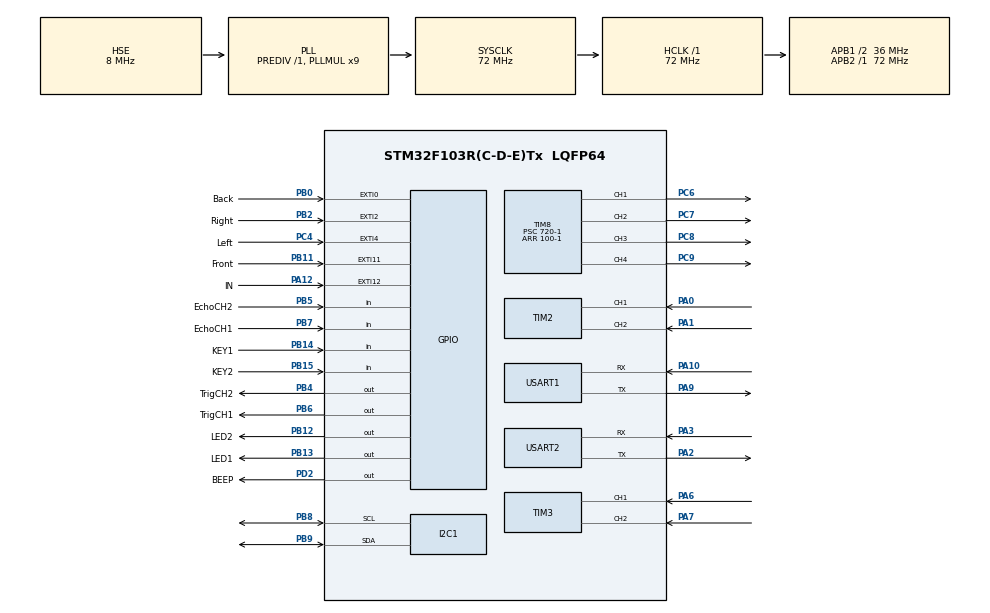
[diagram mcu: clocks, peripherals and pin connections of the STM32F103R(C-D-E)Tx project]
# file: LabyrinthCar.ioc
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Dma.Request0=USART1_RX
Dma.Request1=USART1_TX
Dma.Request2=USART2_RX
Dma.Request3=USART2_TX
Dma.USART1_RX.0.Direction=DMA_PERIPH_TO_MEMORY
Dma.USART1_RX.0.Instance=DMA1_Channel5
Dma.USART1_RX.0.MemDataAlignment=DMA_MDATAALIGN_BYTE
Dma.USART1_RX.0.MemInc=DMA_MINC_ENABLE
Dma.USART1_RX.0.Mode=DMA_NORMAL
Dma.USART1_RX.0.PeriphDataAlignment=DMA_PDATAALIGN_BYTE
Dma.USART1_RX.0.PeriphInc=DMA_PINC_DISABLE
Dma.USART1_RX.0.Priority=DMA_PRIORITY_LOW
Dma.USART1_TX.1.Direction=DMA_MEMORY_TO_PERIPH
Dma.USART1_TX.1.Instance=DMA1_Channel4
Dma.USART1_TX.1.MemDataAlignment=DMA_MDATAALIGN_BYTE
Dma.USART1_TX.1.MemInc=DMA_MINC_ENABLE
Dma.USART1_TX.1.Mode=DMA_NORMAL
Dma.USART1_TX.1.PeriphDataAlignment=DMA_PDATAALIGN_BYTE
Dma.USART1_TX.1.PeriphInc=DMA_PINC_DISABLE
Dma.USART1_TX.1.Priority=DMA_PRIORITY_LOW
Dma.USART2_RX.2.Direction=DMA_PERIPH_TO_MEMORY
Dma.USART2_RX.2.Instance=DMA1_Channel6
Dma.USART2_RX.2.MemDataAlignment=DMA_MDATAALIGN_BYTE
Dma.USART2_RX.2.MemInc=DMA_MINC_ENABLE
Dma.USART2_RX.2.Mode=DMA_NORMAL
Dma.USART2_RX.2.PeriphDataAlignment=DMA_PDATAALIGN_BYTE
Dma.USART2_RX.2.PeriphInc=DMA_PINC_DISABLE
Dma.USART2_RX.2.Priority=DMA_PRIORITY_LOW
Dma.USART2_TX.3.Direction=DMA_MEMORY_TO_PERIPH
Dma.USART2_TX.3.Instance=DMA1_Channel7
Dma.USART2_TX.3.MemDataAlignment=DMA_MDATAALIGN_BYTE
Dma.USART2_TX.3.MemInc=DMA_MINC_ENABLE
Dma.USART2_TX.3.Mode=DMA_NORMAL
Dma.USART2_TX.3.PeriphDataAlignment=DMA_PDATAALIGN_BYTE
Dma.USART2_TX.3.PeriphInc=DMA_PINC_DISABLE
Dma.USART2_TX.3.Priority=DMA_PRIORITY_LOW
Mcu.Family=STM32F1
Mcu.Name=STM32F103R(C-D-E)Tx
Mcu.Package=LQFP64
NVIC.DMA1_Channel4_IRQn=true\:0\:0\:false\:false\:true\:false\:true\:true
NVIC.DMA1_Channel5_IRQn=true\:0\:0\:false\:false\:true\:false\:true\:true
NVIC.DMA1_Channel6_IRQn=true\:0\:0\:false\:false\:true\:false\:true\:true
NVIC.DMA1_Channel7_IRQn=true\:0\:0\:false\:false\:true\:false\:true\:true
NVIC.EXTI0_IRQn=true\:2\:0\:true\:false\:true\:true\:true\:true
NVIC.EXTI15_10_IRQn=true\:2\:0\:true\:false\:true\:true\:true\:true
NVIC.EXTI2_IRQn=true\:2\:0\:true\:false\:true\:true\:true\:true
NVIC.EXTI4_IRQn=true\:2\:0\:true\:false\:true\:true\:true\:true
NVIC.PriorityGroup=NVIC_PRIORITYGROUP_4
NVIC.TIM2_IRQn=true\:0\:0\:false\:false\:true\:true\:true\:true
NVIC.TIM3_IRQn=true\:0\:0\:true\:false\:true\:true\:true\:true
NVIC.TIM6_IRQn=true\:1\:0\:true\:false\:true\:true\:true\:true
NVIC.TIM7_IRQn=true\:0\:0\:false\:false\:true\:true\:true\:true
NVIC.USART1_IRQn=true\:0\:0\:false\:false\:true\:true\:true\:true
NVIC.USART2_IRQn=true\:0\:0\:false\:false\:true\:true\:true\:true
PA0-WKUP.Signal=S_TIM2_CH1_ETR
PA1.Signal=S_TIM2_CH2
PA10.Mode=Asynchronous
PA10.Signal=USART1_RX
PA12.GPIO_Label=IN
PA12.Signal=GPXTI12
PA13.Mode=Serial_Wire
PA13.Signal=SYS_JTMS-SWDIO
PA14.Mode=Serial_Wire
PA14.Signal=SYS_JTCK-SWCLK
PA2.Mode=Asynchronous
PA2.Signal=USART2_TX
PA3.Mode=Asynchronous
PA3.Signal=USART2_RX
PA6.Signal=S_TIM3_CH1
PA7.Signal=S_TIM3_CH2
PA9.Mode=Asynchronous
PA9.Signal=USART1_TX
PB0.GPIO_Label=Back
PB0.GPIO_ModeDefaultEXTI=GPIO_MODE_IT_FALLING
PB0.GPIO_PuPd=GPIO_PULLUP
PB0.Signal=GPXTI0
PB11.GPIO_Label=Front
PB11.GPIO_ModeDefaultEXTI=GPIO_MODE_IT_FALLING
PB11.GPIO_PuPd=GPIO_PULLUP
PB11.Signal=GPXTI11
PB12.GPIO_Label=LED2
PB12.GPIO_PuPd=GPIO_PULLUP
PB12.PinState=GPIO_PIN_SET
PB12.Signal=GPIO_Output
PB13.GPIO_Label=LED1
PB13.GPIO_PuPd=GPIO_PULLUP
PB13.PinState=GPIO_PIN_SET
PB13.Signal=GPIO_Output
PB14.GPIO_Label=KEY1
PB14.GPIO_PuPd=GPIO_PULLUP
PB14.Signal=GPIO_Input
PB15.GPIO_Label=KEY2
PB15.GPIO_PuPd=GPIO_PULLUP
PB15.Signal=GPIO_Input
PB2.GPIO_Label=Right
PB2.GPIO_ModeDefaultEXTI=GPIO_MODE_IT_FALLING
PB2.GPIO_PuPd=GPIO_PULLUP
PB2.Signal=GPXTI2
PB4.GPIO_Label=TrigCH2
PB4.Signal=GPIO_Output
PB5.GPIO_Label=EchoCH2
PB5.Signal=GPIO_Input
PB6.GPIO_Label=TrigCH1
PB6.Signal=GPIO_Output
PB7.GPIO_Label=EchoCH1
PB7.Signal=GPIO_Input
PB8.Mode=I2C
PB8.Signal=I2C1_SCL
PB9.Mode=I2C
PB9.Signal=I2C1_SDA
PC14-OSC32_IN.Mode=LSE-External-Oscillator
PC14-OSC32_IN.Signal=RCC_OSC32_IN
PC15-OSC32_OUT.Mode=LSE-External-Oscillator
PC15-OSC32_OUT.Signal=RCC_OSC32_OUT
PC4.GPIO_Label=Left
PC4.GPIO_ModeDefaultEXTI=GPIO_MODE_IT_FALLING
PC4.GPIO_PuPd=GPIO_PULLUP
PC4.Signal=GPXTI4
PC6.Signal=S_TIM8_CH1
PC7.Signal=S_TIM8_CH2
PC8.Signal=S_TIM8_CH3
PC9.Signal=S_TIM8_CH4
PD0-OSC_IN.Mode=HSE-External-Oscillator
PD0-OSC_IN.Signal=RCC_OSC_IN
PD1-OSC_OUT.Mode=HSE-External-Oscillator
PD1-OSC_OUT.Signal=RCC_OSC_OUT
PD2.GPIO_Label=BEEP
PD2.GPIO_ModeDefaultOutputPP=GPIO_MODE_OUTPUT_PP
PD2.GPIO_PuPd=GPIO_PULLDOWN
PD2.PinState=GPIO_PIN_RESET
PD2.Signal=GPIO_Output
ProjectManager.HeapSize=0x200
ProjectManager.StackSize=0x400
ProjectManager.TargetToolchain=STM32CubeIDE
RCC.AHBFreq_Value=72000000
RCC.APB1CLKDivider=RCC_HCLK_DIV2
RCC.APB1Freq_Value=36000000
RCC.APB1TimFreq_Value=72000000
RCC.APB2Freq_Value=72000000
RCC.APB2TimFreq_Value=72000000
RCC.HCLKFreq_Value=72000000
RCC.PLLMUL=RCC_PLL_MUL9
RCC.PLLSourceVirtual=RCC_PLLSOURCE_HSE
RCC.SYSCLKFreq_VALUE=72000000
RCC.SYSCLKSource=RCC_SYSCLKSOURCE_PLLCLK
RCC.USBFreq_Value=72000000
SH.S_TIM2_CH1_ETR.0=TIM2_CH1,Encoder_Interface
SH.S_TIM2_CH2.0=TIM2_CH2,Encoder_Interface
SH.S_TIM3_CH1.0=TIM3_CH1,Encoder_Interface
SH.S_TIM3_CH2.0=TIM3_CH2,Encoder_Interface
SH.S_TIM8_CH1.0=TIM8_CH1,PWM Generation1 CH1
SH.S_TIM8_CH2.0=TIM8_CH2,PWM Generation2 CH2
SH.S_TIM8_CH3.0=TIM8_CH3,PWM Generation3 CH3
SH.S_TIM8_CH4.0=TIM8_CH4,PWM Generation4 CH4
TIM6.Period=10000-1
TIM6.Prescaler=720-1
TIM7.Period=72-1
TIM7.Prescaler=10-1
TIM8.Channel-PWM\ Generation1\ CH1=TIM_CHANNEL_1
TIM8.Channel-PWM\ Generation2\ CH2=TIM_CHANNEL_2
TIM8.Channel-PWM\ Generation3\ CH3=TIM_CHANNEL_3
TIM8.Channel-PWM\ Generation4\ CH4=TIM_CHANNEL_4
TIM8.Period=100-1
TIM8.Prescaler=720-1
USART1.VirtualMode=VM_ASYNC
USART2.VirtualMode=VM_ASYNC
VP_TIM6_VS_ClockSourceINT.Mode=Enable_Timer
VP_TIM7_VS_ClockSourceINT.Mode=Enable_Timer
VP_TIM8_VS_ClockSourceINT.Mode=Internal
board=custom

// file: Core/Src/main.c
/* USER CODE BEGIN Header */
/**
  ******************************************************************************
  * @file           : main.c
  * @brief          : Main program body
  ******************************************************************************
  * @attention
  *
  * Copyright (c) 2023 STMicroelectronics.
  * All rights reserved.
  *
  * This software is licensed under terms that can be found in the LICENSE file
  * in the root directory of this software component.
  * If no LICENSE file comes with this software, it is provided AS-IS.
  *
  ******************************************************************************
  */
/* USER CODE END Header */
#include "main.h"
#include "dma.h"
#include "i2c.h"
#include "tim.h"
#include "usart.h"
#include "gpio.h"

/* USER CODE BEGIN Includes */
#include "Serial.h"
#include "Basic.h"
#include "OLED.h"
#include "Motor.h"
#include "HCSR04.h"
#include "Control.h"
#include "mpu6050.h"
#include "inv_mpu.h"
/* USER CODE END Includes */

void SystemClock_Config(void);

int main(void)
{
  /* USER CODE BEGIN 1 */

  /* USER CODE BEGIN 1 */
  /* USER CODE END 1 */

  /* MCU Configuration--------------------------------------------------------*/

  /* Reset of all peripherals, Initializes the Flash interface and the Systick. */
  HAL_Init();

  /* Configure the system clock */
  SystemClock_Config();

  /* Initialize all configured peripherals */
  MX_GPIO_Init();
  MX_DMA_Init();
  MX_I2C1_Init();
  MX_USART1_UART_Init();
  MX_TIM8_Init();
  MX_TIM3_Init();
  MX_TIM6_Init();
  MX_TIM7_Init();
  MX_TIM2_Init();
  MX_USART2_UART_Init();
  /* USER CODE BEGIN 2 */
//  mpu_init();
  mpu_dmp_init();
  OLED_Init();
  OLED_ShowInit();
  USART_Init(&huart1);
  Motor_Init();
  HC_SR04_Init();
  BEEP_Moment();
  pid_Turn.Kp=turnKp;
  pid_Turn.Ki=turnKi;
  pid_Turn.Kd=turnKd;
  PID_init(&pid_Straight);
  PID_init(&pid_Turn);
  /* USER CODE END 2 */

  /* Infinite loop */
  /* USER CODE BEGIN WHILE */
  while (1)
  {
//    MPUData_Updata();
    GetSpeed();
    if (GetRxFlag(&huart1)==1){
      GetRX_Order();
    }
    State_Update();
    Control_A((int )values.TargetSpeed_L);//将速度赋值
    Control_B((int )values.TargetSpeed_R);
    ValuesShow();
    /* USER CODE END WHILE */

  }
}

void SystemClock_Config(void)
{
  RCC_OscInitTypeDef RCC_OscInitStruct = {0};
  RCC_ClkInitTypeDef RCC_ClkInitStruct = {0};

  /** Initializes the RCC Oscillators according to the specified parameters
  * in the RCC_OscInitTypeDef structure.
  */
  RCC_OscInitStruct.OscillatorType = RCC_OSCILLATORTYPE_HSE;
  RCC_OscInitStruct.HSEState = RCC_HSE_ON;
  RCC_OscInitStruct.HSEPredivValue = RCC_HSE_PREDIV_DIV1;
  RCC_OscInitStruct.HSIState = RCC_HSI_ON;
  RCC_OscInitStruct.PLL.PLLState = RCC_PLL_ON;
  RCC_OscInitStruct.PLL.PLLSource = RCC_PLLSOURCE_HSE;
  RCC_OscInitStruct.PLL.PLLMUL = RCC_PLL_MUL9;
  if (HAL_RCC_OscConfig(&RCC_OscInitStruct) != HAL_OK)
  {
    Error_Handler();
  }

  /** Initializes the CPU, AHB and APB buses clocks
  */
  RCC_ClkInitStruct.ClockType = RCC_CLOCKTYPE_HCLK|RCC_CLOCKTYPE_SYSCLK
                              |RCC_CLOCKTYPE_PCLK1|RCC_CLOCKTYPE_PCLK2;
  RCC_ClkInitStruct.SYSCLKSource = RCC_SYSCLKSOURCE_PLLCLK;
  RCC_ClkInitStruct.AHBCLKDivider = RCC_SYSCLK_DIV1;
  RCC_ClkInitStruct.APB1CLKDivider = RCC_HCLK_DIV2;
  RCC_ClkInitStruct.APB2CLKDivider = RCC_HCLK_DIV1;

  if (HAL_RCC_ClockConfig(&RCC_ClkInitStruct, FLASH_LATENCY_2) != HAL_OK)
  {
    Error_Handler();
  }
}

void Error_Handler(void)
{
  __disable_irq();
  while (1)
  {
  }
}
